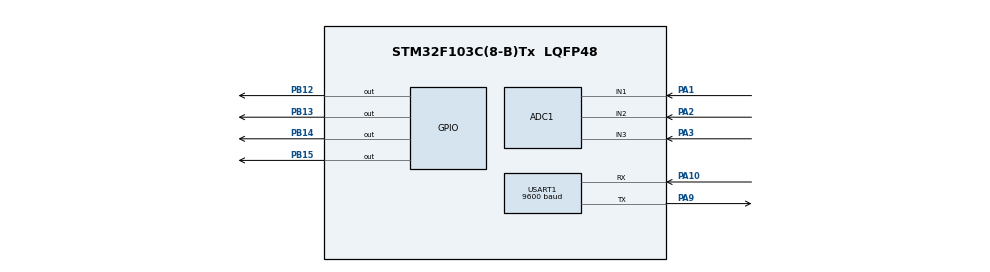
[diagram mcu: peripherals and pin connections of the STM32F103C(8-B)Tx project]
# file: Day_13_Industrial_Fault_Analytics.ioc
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ADC1.Channel-0\#ChannelRegularConversion=ADC_CHANNEL_1
ADC1.NbrOfConversionFlag=1
ADC1.Rank-0\#ChannelRegularConversion=1
ADC1.SamplingTime-0\#ChannelRegularConversion=ADC_SAMPLETIME_1CYCLE_5
ADC1.master=1
Mcu.Family=STM32F1
Mcu.Name=STM32F103C(8-B)Tx
Mcu.Package=LQFP48
NVIC.PriorityGroup=NVIC_PRIORITYGROUP_4
PA1.Signal=ADCx_IN1
PA10.Mode=Asynchronous
PA10.Signal=USART1_RX
PA2.Signal=ADCx_IN2
PA3.Signal=ADCx_IN3
PA9.Mode=Asynchronous
PA9.Signal=USART1_TX
PB12.Signal=GPIO_Output
PB13.Signal=GPIO_Output
PB14.Signal=GPIO_Output
PB15.Signal=GPIO_Output
ProjectManager.HeapSize=0x200
ProjectManager.StackSize=0x400
ProjectManager.TargetToolchain=STM32CubeIDE
RCC.APB1Freq_Value=8000000
RCC.APB2Freq_Value=8000000
SH.ADCx_IN1.0=ADC1_IN1,IN1
SH.ADCx_IN2.0=ADC1_IN2,IN2
SH.ADCx_IN3.0=ADC1_IN3,IN3
USART1.BaudRate=9600
USART1.VirtualMode=VM_ASYNC
VP_SYS_VS_ND.Mode=No_Debug
board=custom

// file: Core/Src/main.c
/* USER CODE BEGIN Header */
/**
  ******************************************************************************
  * @file           : main.c
  * @brief          : Main program body
  ******************************************************************************
  * @attention
  *
  * Copyright (c) 2026 STMicroelectronics.
  * All rights reserved.
  *
  * This software is licensed under terms that can be found in the LICENSE file
  * in the root directory of this software component.
  * If no LICENSE file comes with this software, it is provided AS-IS.
  *
  ******************************************************************************
  */
/* USER CODE END Header */
#include "main.h"
#include <stdio.h>
#include <string.h>

ADC_HandleTypeDef hadc1;

UART_HandleTypeDef huart1;

/* USER CODE BEGIN PV */
uint32_t gas_value = 0;
uint32_t temp_value = 0;
uint32_t distance_value = 0;

uint32_t gas_faults = 0;
uint32_t temp_faults = 0;
uint32_t distance_faults = 0;

uint32_t total_faults = 0;

char dominant_fault[20];
char uart_buffer[300];

/* USER CODE END PV */

void SystemClock_Config(void);
static void MX_GPIO_Init(void);
static void MX_ADC1_Init(void);
static void MX_USART1_UART_Init(void);
/* USER CODE BEGIN PFP */
uint32_t Read_ADC(uint32_t channel);
void Analyze_Faults(void);
void Send_Analytics_Report(void);

/* USER CODE END PFP */

int main(void)
{

  /* MCU Configuration--------------------------------------------------------*/

  /* Reset of all peripherals, Initializes the Flash interface and the Systick. */
  HAL_Init();

  /* Configure the system clock */
  SystemClock_Config();

  /* Initialize all configured peripherals */
  MX_GPIO_Init();
  MX_ADC1_Init();
  MX_USART1_UART_Init();
  /* USER CODE BEGIN 2 */
  HAL_ADCEx_Calibration_Start(&hadc1);

  /* USER CODE END 2 */

  /* Infinite loop */
  /* USER CODE BEGIN WHILE */
  while (1)
  {
      gas_value =
          (Read_ADC(ADC_CHANNEL_1) * 100) / 4095;

      temp_value =
          (Read_ADC(ADC_CHANNEL_2) * 100) / 4095;

      distance_value =
          (Read_ADC(ADC_CHANNEL_3) * 100) / 4095;

      if(gas_value > 60)
      {
          gas_faults++;
          HAL_GPIO_WritePin(GPIOB, GPIO_PIN_12, GPIO_PIN_SET);
      }
      else
      {
          HAL_GPIO_WritePin(GPIOB, GPIO_PIN_12, GPIO_PIN_RESET);
      }

      if(temp_value > 70)
      {
          temp_faults++;
          HAL_GPIO_WritePin(GPIOB, GPIO_PIN_13, GPIO_PIN_SET);
      }
      else
      {
          HAL_GPIO_WritePin(GPIOB, GPIO_PIN_13, GPIO_PIN_RESET);
      }

      if(distance_value < 30)
      {
          distance_faults++;
          HAL_GPIO_WritePin(GPIOB, GPIO_PIN_14, GPIO_PIN_SET);
      }
      else
      {
          HAL_GPIO_WritePin(GPIOB, GPIO_PIN_14, GPIO_PIN_RESET);
      }

      Analyze_Faults();

      Send_Analytics_Report();

      HAL_Delay(1000);
  }
  /* USER CODE END 3 */
}

void SystemClock_Config(void)
{
  RCC_OscInitTypeDef RCC_OscInitStruct = {0};
  RCC_ClkInitTypeDef RCC_ClkInitStruct = {0};
  RCC_PeriphCLKInitTypeDef PeriphClkInit = {0};

  /** Initializes the RCC Oscillators according to the specified parameters
  * in the RCC_OscInitTypeDef structure.
  */
  RCC_OscInitStruct.OscillatorType = RCC_OSCILLATORTYPE_HSI;
  RCC_OscInitStruct.HSIState = RCC_HSI_ON;
  RCC_OscInitStruct.HSICalibrationValue = RCC_HSICALIBRATION_DEFAULT;
  RCC_OscInitStruct.PLL.PLLState = RCC_PLL_NONE;
  if (HAL_RCC_OscConfig(&RCC_OscInitStruct) != HAL_OK)
  {
    Error_Handler();
  }

  /** Initializes the CPU, AHB and APB buses clocks
  */
  RCC_ClkInitStruct.ClockType = RCC_CLOCKTYPE_HCLK|RCC_CLOCKTYPE_SYSCLK
                              |RCC_CLOCKTYPE_PCLK1|RCC_CLOCKTYPE_PCLK2;
  RCC_ClkInitStruct.SYSCLKSource = RCC_SYSCLKSOURCE_HSI;
  RCC_ClkInitStruct.AHBCLKDivider = RCC_SYSCLK_DIV1;
  RCC_ClkInitStruct.APB1CLKDivider = RCC_HCLK_DIV1;
  RCC_ClkInitStruct.APB2CLKDivider = RCC_HCLK_DIV1;

  if (HAL_RCC_ClockConfig(&RCC_ClkInitStruct, FLASH_LATENCY_0) != HAL_OK)
  {
    Error_Handler();
  }
  PeriphClkInit.PeriphClockSelection = RCC_PERIPHCLK_ADC;
  PeriphClkInit.AdcClockSelection = RCC_ADCPCLK2_DIV2;
  if (HAL_RCCEx_PeriphCLKConfig(&PeriphClkInit) != HAL_OK)
  {
    Error_Handler();
  }
}

static void MX_ADC1_Init(void)
{

  ADC_ChannelConfTypeDef sConfig = {0};

  /** Common config
  */
  hadc1.Instance = ADC1;
  hadc1.Init.ScanConvMode = ADC_SCAN_DISABLE;
  hadc1.Init.ContinuousConvMode = DISABLE;
  hadc1.Init.DiscontinuousConvMode = DISABLE;
  hadc1.Init.ExternalTrigConv = ADC_SOFTWARE_START;
  hadc1.Init.DataAlign = ADC_DATAALIGN_RIGHT;
  hadc1.Init.NbrOfConversion = 1;
  if (HAL_ADC_Init(&hadc1) != HAL_OK)
  {
    Error_Handler();
  }

  /** Configure Regular Channel
  */
  sConfig.Channel = ADC_CHANNEL_1;
  sConfig.Rank = ADC_REGULAR_RANK_1;
  sConfig.SamplingTime = ADC_SAMPLETIME_1CYCLE_5;
  if (HAL_ADC_ConfigChannel(&hadc1, &sConfig) != HAL_OK)
  {
    Error_Handler();
  }

}

static void MX_USART1_UART_Init(void)
{

  huart1.Instance = USART1;
  huart1.Init.BaudRate = 9600;
  huart1.Init.WordLength = UART_WORDLENGTH_8B;
  huart1.Init.StopBits = UART_STOPBITS_1;
  huart1.Init.Parity = UART_PARITY_NONE;
  huart1.Init.Mode = UART_MODE_TX_RX;
  huart1.Init.HwFlowCtl = UART_HWCONTROL_NONE;
  huart1.Init.OverSampling = UART_OVERSAMPLING_16;
  if (HAL_UART_Init(&huart1) != HAL_OK)
  {
    Error_Handler();
  }

}

static void MX_GPIO_Init(void)
{
  GPIO_InitTypeDef GPIO_InitStruct = {0};

  /* GPIO Ports Clock Enable */
  __HAL_RCC_GPIOA_CLK_ENABLE();
  __HAL_RCC_GPIOB_CLK_ENABLE();

  /*Configure GPIO pin Output Level */
  HAL_GPIO_WritePin(GPIOB, GPIO_PIN_12|GPIO_PIN_13|GPIO_PIN_14|GPIO_PIN_15, GPIO_PIN_RESET);

  /*Configure GPIO pins : PB12 PB13 PB14 PB15 */
  GPIO_InitStruct.Pin = GPIO_PIN_12|GPIO_PIN_13|GPIO_PIN_14|GPIO_PIN_15;
  GPIO_InitStruct.Mode = GPIO_MODE_OUTPUT_PP;
  GPIO_InitStruct.Pull = GPIO_NOPULL;
  GPIO_InitStruct.Speed = GPIO_SPEED_FREQ_LOW;
  HAL_GPIO_Init(GPIOB, &GPIO_InitStruct);

}

/* USER CODE BEGIN 4 */
uint32_t Read_ADC(uint32_t channel)
{
    ADC_ChannelConfTypeDef sConfig = {0};

    sConfig.Channel = channel;
    sConfig.Rank = ADC_REGULAR_RANK_1;
    sConfig.SamplingTime = ADC_SAMPLETIME_71CYCLES_5;

    HAL_ADC_ConfigChannel(&hadc1, &sConfig);

    HAL_ADC_Start(&hadc1);

    HAL_ADC_PollForConversion(&hadc1, HAL_MAX_DELAY);

    return HAL_ADC_GetValue(&hadc1);
}

void Analyze_Faults(void)
{
    total_faults =
            gas_faults +
            temp_faults +
            distance_faults;

    if(gas_faults >= temp_faults &&
       gas_faults >= distance_faults)
    {
        strcpy(dominant_fault, "GAS");
    }
    else if(temp_faults >= gas_faults &&
            temp_faults >= distance_faults)
    {
        strcpy(dominant_fault, "TEMPERATURE");
    }
    else
    {
        strcpy(dominant_fault, "DISTANCE");
    }

    if(total_faults > 20)
    {
        HAL_GPIO_WritePin(GPIOB,
                          GPIO_PIN_15,
                          GPIO_PIN_SET);
    }
    else
    {
        HAL_GPIO_WritePin(GPIOB,
                          GPIO_PIN_15,
                          GPIO_PIN_RESET);
    }
}

void Send_Analytics_Report(void)
{
    sprintf(uart_buffer,

"\r\n===== FAULT ANALYTICS =====\r\n"
"Gas Faults      : %lu\r\n"
"Temp Faults     : %lu\r\n"
"Distance Faults : %lu\r\n"
"\r\n"
"Total Faults    : %lu\r\n"
"\r\n"
"Major Fault     : %s\r\n"
"\r\n"
"Gas Value       : %lu %%\r\n"
"Temp Value      : %lu %%\r\n"
"Distance Value  : %lu %%\r\n"
"===========================\r\n",

gas_faults,
temp_faults,
distance_faults,
total_faults,
dominant_fault,
gas_value,
temp_value,
distance_value);

    HAL_UART_Transmit(&huart1,
                      (uint8_t*)uart_buffer,
                      strlen(uart_buffer),
                      HAL_MAX_DELAY);
}

/* USER CODE END 4 */

void Error_Handler(void)
{
  __disable_irq();
  while (1)
  {
  }
}
